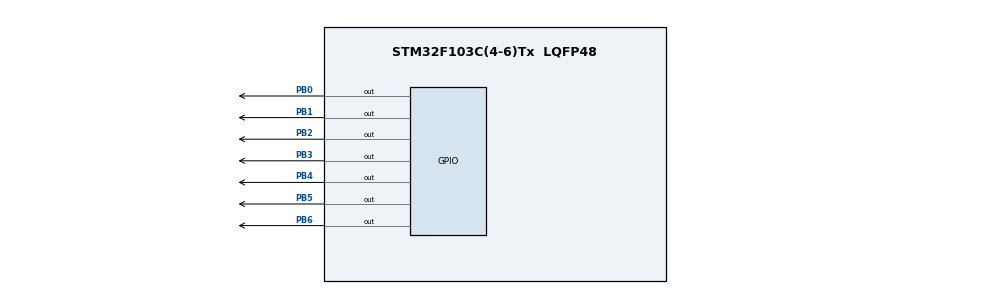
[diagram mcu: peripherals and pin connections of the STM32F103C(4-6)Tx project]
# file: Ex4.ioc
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Mcu.Family=STM32F1
Mcu.Name=STM32F103C(4-6)Tx
Mcu.Package=LQFP48
NVIC.PriorityGroup=NVIC_PRIORITYGROUP_4
PB0.Signal=GPIO_Output
PB1.Signal=GPIO_Output
PB2.Signal=GPIO_Output
PB3.Signal=GPIO_Output
PB4.Signal=GPIO_Output
PB5.Signal=GPIO_Output
PB6.Signal=GPIO_Output
ProjectManager.HeapSize=0x200
ProjectManager.StackSize=0x400
ProjectManager.TargetToolchain=STM32CubeIDE
RCC.APB1Freq_Value=8000000
RCC.APB2Freq_Value=8000000
board=custom

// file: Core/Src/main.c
/* USER CODE BEGIN Header */
/**
  ******************************************************************************
  * @file           : main.c
  * @brief          : Main program body
  ******************************************************************************
  * @attention
  *
  * Copyright (c) 2023 STMicroelectronics.
  * All rights reserved.
  *
  * This software is licensed under terms that can be found in the LICENSE file
  * in the root directory of this software component.
  * If no LICENSE file comes with this software, it is provided AS-IS.
  *
  ******************************************************************************
  */
/* USER CODE END Header */
#include "main.h"

void SystemClock_Config(void);
static void MX_GPIO_Init(void);

/* USER CODE BEGIN 0 */

// Define the pins for each segment (PB0 to PB6)
const uint8_t sevenSegPatterns[10] = {
    0b00111111, // 0
    0b00000110, // 1
    0b01011011, // 2
    0b01001111, // 3
    0b01100110, // 4
    0b01101101, // 5
    0b01111101, // 6
    0b00000111, // 7
    0b01111111, // 8
    0b01101111  // 9
};
void display7SEG(int digit) {
    // Set the appropriate pins based on the digit pattern
    HAL_GPIO_WritePin(GPIOB, GPIO_PIN_0, ((sevenSegPatterns[digit] >> 0) & 1) ^ 1);
    HAL_GPIO_WritePin(GPIOB, GPIO_PIN_1, ((sevenSegPatterns[digit] >> 1) & 1) ^ 1);
    HAL_GPIO_WritePin(GPIOB, GPIO_PIN_2, ((sevenSegPatterns[digit] >> 2) & 1) ^ 1);
    HAL_GPIO_WritePin(GPIOB, GPIO_PIN_3, ((sevenSegPatterns[digit] >> 3) & 1) ^ 1);
    HAL_GPIO_WritePin(GPIOB, GPIO_PIN_4, ((sevenSegPatterns[digit] >> 4) & 1) ^ 1);
    HAL_GPIO_WritePin(GPIOB, GPIO_PIN_5, ((sevenSegPatterns[digit] >> 5) & 1) ^ 1);
    HAL_GPIO_WritePin(GPIOB, GPIO_PIN_6, ((sevenSegPatterns[digit] >> 6) & 1) ^ 1);
}

/* USER CODE END 0 */

int main(void)
{

  /* MCU Configuration--------------------------------------------------------*/

  /* Reset of all peripherals, Initializes the Flash interface and the Systick. */
  HAL_Init();

  /* Configure the system clock */
  SystemClock_Config();

  /* Initialize all configured peripherals */
  MX_GPIO_Init();

  /* Infinite loop */
  /* USER CODE BEGIN WHILE */

  int counter = 0;
  while (1)
  {
	  if (counter >= 10)
		  counter = 0;
	  display7SEG(counter++);
	  HAL_Delay(1000);
    /* USER CODE END WHILE */

  }
}

void SystemClock_Config(void)
{
  RCC_OscInitTypeDef RCC_OscInitStruct = {0};
  RCC_ClkInitTypeDef RCC_ClkInitStruct = {0};

  /** Initializes the RCC Oscillators according to the specified parameters
  * in the RCC_OscInitTypeDef structure.
  */
  RCC_OscInitStruct.OscillatorType = RCC_OSCILLATORTYPE_HSI;
  RCC_OscInitStruct.HSIState = RCC_HSI_ON;
  RCC_OscInitStruct.HSICalibrationValue = RCC_HSICALIBRATION_DEFAULT;
  RCC_OscInitStruct.PLL.PLLState = RCC_PLL_NONE;
  if (HAL_RCC_OscConfig(&RCC_OscInitStruct) != HAL_OK)
  {
    Error_Handler();
  }

  /** Initializes the CPU, AHB and APB buses clocks
  */
  RCC_ClkInitStruct.ClockType = RCC_CLOCKTYPE_HCLK|RCC_CLOCKTYPE_SYSCLK
                              |RCC_CLOCKTYPE_PCLK1|RCC_CLOCKTYPE_PCLK2;
  RCC_ClkInitStruct.SYSCLKSource = RCC_SYSCLKSOURCE_HSI;
  RCC_ClkInitStruct.AHBCLKDivider = RCC_SYSCLK_DIV1;
  RCC_ClkInitStruct.APB1CLKDivider = RCC_HCLK_DIV1;
  RCC_ClkInitStruct.APB2CLKDivider = RCC_HCLK_DIV1;

  if (HAL_RCC_ClockConfig(&RCC_ClkInitStruct, FLASH_LATENCY_0) != HAL_OK)
  {
    Error_Handler();
  }
}

static void MX_GPIO_Init(void)
{
  GPIO_InitTypeDef GPIO_InitStruct = {0};

  /* GPIO Ports Clock Enable */
  __HAL_RCC_GPIOB_CLK_ENABLE();

  /*Configure GPIO pin Output Level */
  HAL_GPIO_WritePin(GPIOB, GPIO_PIN_0|GPIO_PIN_1|GPIO_PIN_2|GPIO_PIN_3
                          |GPIO_PIN_4|GPIO_PIN_5|GPIO_PIN_6, GPIO_PIN_RESET);

  /*Configure GPIO pins : PB0 PB1 PB2 PB3
                           PB4 PB5 PB6 */
  GPIO_InitStruct.Pin = GPIO_PIN_0|GPIO_PIN_1|GPIO_PIN_2|GPIO_PIN_3
                          |GPIO_PIN_4|GPIO_PIN_5|GPIO_PIN_6;
  GPIO_InitStruct.Mode = GPIO_MODE_OUTPUT_PP;
  GPIO_InitStruct.Pull = GPIO_NOPULL;
  GPIO_InitStruct.Speed = GPIO_SPEED_FREQ_LOW;
  HAL_GPIO_Init(GPIOB, &GPIO_InitStruct);

}

void Error_Handler(void)
{
  __disable_irq();
  while (1)
  {
  }
}
